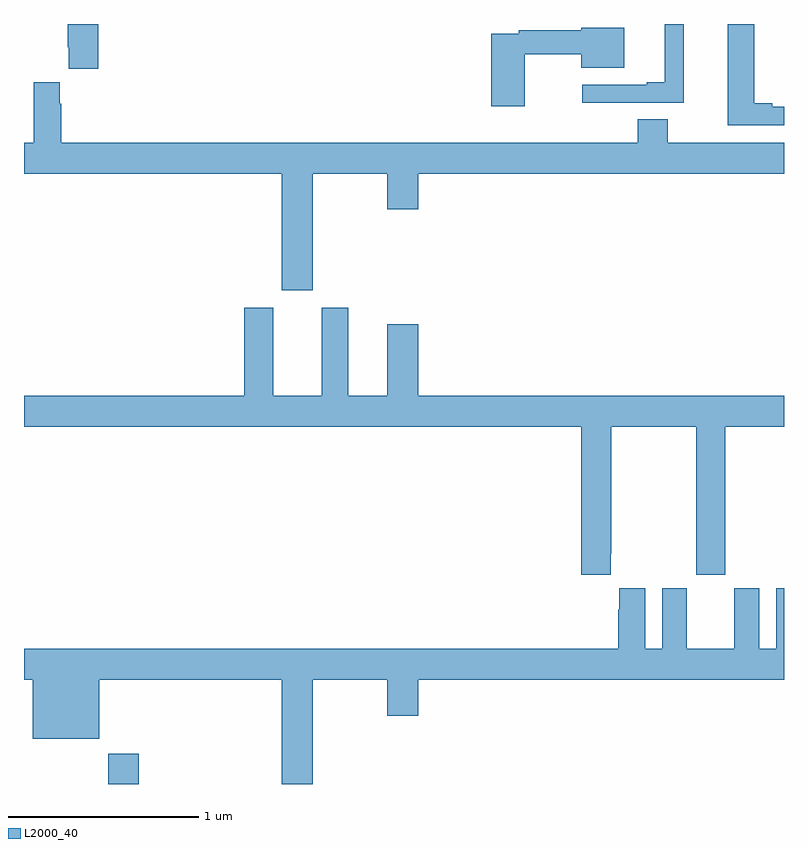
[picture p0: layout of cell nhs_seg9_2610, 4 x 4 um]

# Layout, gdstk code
import gdstk
lib = gdstk.Library(unit=1e-6, precision=1e-09)
def R(c, l, rs):  # rectangles x0, y0, x1, y1
    for r in rs: c.add(gdstk.rectangle(r[:2], r[2:], *l))
def P(c, l, *ps):  # polygons
    for p in ps: c.add(gdstk.Polygon(p, *l))
L2000_40 = (2000, 40)

nhs_seg9_2610 = lib.new_cell('nhs_seg9_2610')
R(nhs_seg9_2610, L2000_40, [(259.444,1234.5,259.604,1234.66)])
P(nhs_seg9_2610, L2000_40, [(259.391,1238.5),(259.231,1238.5),(259.231,1238.377),(259.235,1238.377),(259.235,1238.265),(259.391,1238.265)],
  [(262.473,1238.5),(262.373,1238.5),(262.373,1238.194),(262.277,1238.194),(262.277,1238.181),(261.939,1238.181),(261.939,1238.085),(262.473,1238.085)],
  [(263,1238.064),(262.939,1238.064),(262.939,1238.084),(262.843,1238.084),(262.843,1238.5),(262.703,1238.5),(262.703,1237.968),(263,1237.968)],
  [(261.636,1238.34),(261.932,1238.34),(261.932,1238.27),(262.159,1238.27),(262.159,1238.479),(261.932,1238.479),(261.932,1238.468),(261.604,1238.468),(261.604,1238.448),(261.458,1238.448),(261.458,1238.067),(261.636,1238.067)],
  [(260.521,1237.712),(260.912,1237.712),(260.912,1237.524),(261.076,1237.524),(261.076,1237.712),(263,1237.712),(263,1237.876),(262.389,1237.876),(262.389,1238),(262.229,1238),(262.229,1237.876),(259.196,1237.876),(259.196,1238.081),(259.189,1238.081),(259.189,1238.194),(259.052,1238.194),(259.052,1237.876),(259,1237.876),(259,1237.712),(260.357,1237.712),(260.357,1237.098),(260.521,1237.098)],
  [(262.087,1235.713),(262.092,1235.713),(262.092,1236.38),(262.537,1236.38),(262.537,1235.601),(262.692,1235.601),(262.692,1236.38),(263,1236.38),(263,1236.544),(261.076,1236.544),(261.076,1236.919),(260.912,1236.919),(260.912,1236.544),(260.707,1236.544),(260.707,1237.006),(260.567,1237.006),(260.567,1236.544),(260.311,1236.544),(260.311,1237.006),(260.159,1237.006),(260.159,1236.544),(259,1236.544),(259,1236.38),(261.932,1236.38),(261.932,1235.601),(262.087,1235.601)],
  [(260.521,1235.048),(260.912,1235.048),(260.912,1234.86),(261.076,1234.86),(261.076,1235.048),(263,1235.048),(263,1235.53),(262.958,1235.53),(262.958,1235.212),(262.87,1235.212),(262.87,1235.53),(262.739,1235.53),(262.739,1235.212),(262.489,1235.212),(262.489,1235.53),(262.358,1235.53),(262.358,1235.212),(262.27,1235.212),(262.27,1235.53),(262.133,1235.53),(262.133,1235.417),(262.127,1235.417),(262.127,1235.212),(259,1235.212),(259,1235.048),(259.046,1235.048),(259.046,1234.739),(259.396,1234.739),(259.396,1235.048),(260.357,1235.048),(260.357,1234.5),(260.521,1234.5)])

lib.write_gds('nhs_seg9_2610.gds')
